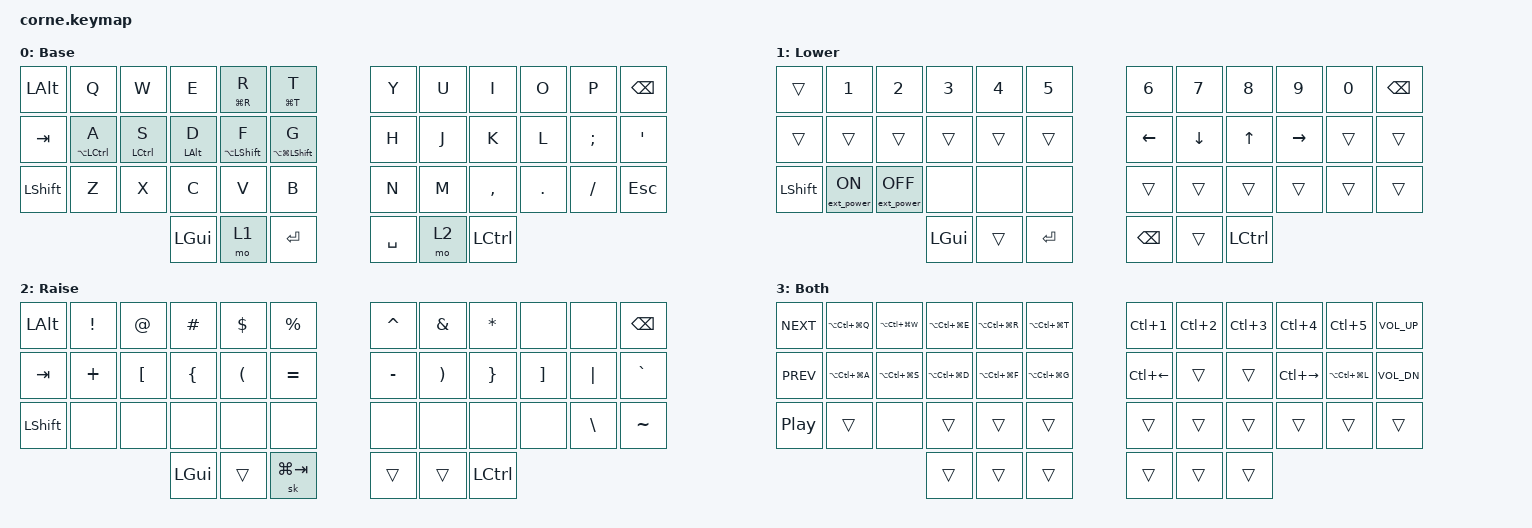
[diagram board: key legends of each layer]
/*
 * Copyright (c) 2020 The ZMK Contributors
 *
 * SPDX-License-Identifier: MIT
 */

#include <behaviors.dtsi>
#include <dt-bindings/zmk/ext_power.h>
#include <dt-bindings/zmk/keys.h>

/ {
    behaviors {
        hml: homewrow_mods_left {
            compatible = "zmk,behavior-hold-tap";
            label = "HOMEWROW_MODS_LEFT";
            bindings = <&kp>, <&kp>;

            #binding-cells = <2>;
            tapping-term-ms = <220>;
            hold-trigger-key-positions = <6 11 10 9 20 8 7 31 30 18 19 32 21 33 34 22 35 23>;
            flavor = "tap-preferred";
        };

        hmr: homewrow_mods_right {
            compatible = "zmk,behavior-hold-tap";
            label = "HOMEWROW_MODS_RIGHT";
            bindings = <&kp>, <&kp>;

            #binding-cells = <2>;
            tapping-term-ms = <220>;
            hold-trigger-key-positions = <1 0 24 13 26 12 25 2 14 3 27 15 4 16 29 5 17 28>;
            flavor = "tap-preferred";
        };
    };

    keymap {
        compatible = "zmk,keymap";

        Base {
            // -----------------------------------------------------------------------------------------
            // |  TAB |  Q  |  W  |  E  |  R  |  T  |   |  Y  |  U   |  I  |  O  |  P  | BKSP |
            // | CTRL |  A  |  S  |  D  |  F  |  G  |   |  H  |  J   |  K  |  L  |  ;  |  '   |
            // | SHFT |  Z  |  X  |  C  |  V  |  B  |   |  N  |  M   |  ,  |  .  |  /  | ESC  |
            //                    | GUI | LWR | SPC |   | ENT | RSE  | ALT |

            display-name = "Base";
            bindings = <
&kp LALT   &kp Q             &kp W         &kp E        &hml LG(R) R           &hml LG(T) T                 &kp Y      &kp U  &kp I      &kp O    &kp P     &kp BSPC
&kp TAB    &hml LA(LCTRL) A  &hml LCTRL S  &hml LALT D  &hml LA(LEFT_SHIFT) F  &hml LA(LG(LEFT_SHIFT)) G    &kp H      &kp J  &kp K      &kp L    &kp SEMI  &kp SQT
&kp LSHFT  &kp Z             &kp X         &kp C        &kp V                  &kp B                        &kp N      &kp M  &kp COMMA  &kp DOT  &kp FSLH  &kp ESC
                                           &kp LGUI     &mo 1                  &kp ENTER                    &kp SPACE  &mo 2  &kp LCTRL
            >;
        };

        Lower {
            // -----------------------------------------------------------------------------------------
            // |  TAB |  1  |  2  |  3  |  4  |  5  |   |  6  |  7  |  8  |  9  |  0  | BKSP |
            // | BTCLR| BT1 | BT2 | BT3 | BT4 | BT5 |   | LFT | DWN |  UP | RGT |     |      |
            // | SHFT |     |     |     |     |     |   |     |     |     |     |     |      |
            //                    | GUI |     | SPC |   | ENT |     | ALT |

            display-name = "Lower";
            bindings = <
&trans     &kp NUMBER_1      &kp NUMBER_2       &kp NUMBER_3  &kp NUMBER_4  &kp N5       &kp NUMBER_6   &kp N7    &kp N8            &kp N9     &kp N0  &kp BSPC
&trans     &trans            &trans             &trans        &trans        &trans       &kp LEFT       &kp DOWN  &kp UP            &kp RIGHT  &trans  &trans
&kp LSHFT  &ext_power EP_ON  &ext_power EP_OFF  &none         &none         &none        &trans         &trans    &trans            &trans     &trans  &trans
                                                &kp LGUI      &trans        &kp ENTER    &kp BACKSPACE  &trans    &kp LEFT_CONTROL
            >;
        };

        Raise {
            // -----------------------------------------------------------------------------------------
            // |  TAB |  !  |  @  |  #  |  $  |  %  |   |  ^  |  &  |  *  |  (  |  )  | BKSP |
            // | CTRL |     |     |     |     |     |   |  -  |  =  |  [  |  ]  |  \  |  `   |
            // | SHFT |     |     |     |     |     |   |  _  |  +  |  {  |  }  | "|" |  ~   |
            //                    | GUI |     | SPC |   | ENT |     | ALT |

            display-name = "Raise";
            bindings = <
&kp LALT   &kp EXCL  &kp AT            &kp HASH  &kp DLLR              &kp PRCNT      &kp CARET  &kp AMPS               &kp ASTERISK     &none              &none          &kp BSPC
&kp TAB    &kp PLUS  &kp LEFT_BRACKET  &kp LBRC  &kp LEFT_PARENTHESIS  &kp EQUAL      &kp MINUS  &kp RIGHT_PARENTHESIS  &kp RIGHT_BRACE  &kp RIGHT_BRACKET  &kp PIPE       &kp GRAVE
&kp LSHFT  &none     &none             &none     &none                 &none          &none      &none                  &none            &none              &kp BACKSLASH  &kp TILDE
                                       &kp LGUI  &trans                &sk LG(TAB)    &trans     &trans                 &kp LCTRL
            >;
        };

        Both {
            bindings = <
&kp C_NEXT        &kp LA(LC(LG(Q)))  &kp LA(LC(LG(W)))  &kp LA(LC(LG(E)))  &kp LA(LC(LG(R)))  &kp LA(LC(LG(T)))    &kp LC(NUMBER_1)    &kp LC(NUMBER_2)  &kp LC(NUMBER_3)  &kp LC(NUMBER_4)  &kp LC(NUMBER_5)   &kp C_VOLUME_UP
&kp C_PREV        &kp LA(LC(LG(A)))  &kp LA(LC(LG(S)))  &kp LA(LC(LG(D)))  &kp LA(LC(LG(F)))  &kp LA(LC(LG(G)))    &kp LC(LEFT_ARROW)  &trans            &trans            &kp LC(RIGHT)     &kp LA(LC(LG(L)))  &kp C_VOL_DN
&kp C_PLAY_PAUSE  &trans             &none              &trans             &trans             &trans               &trans              &trans            &trans            &trans            &trans             &trans
                                                        &trans             &trans             &trans               &trans              &trans            &trans
            >;
        };
    };

    conditional_layers {
        compatible = "zmk,conditional-layers";

        Both {
            if-layers = <1 2>;
            then-layer = <3>;
        };
    };
};
